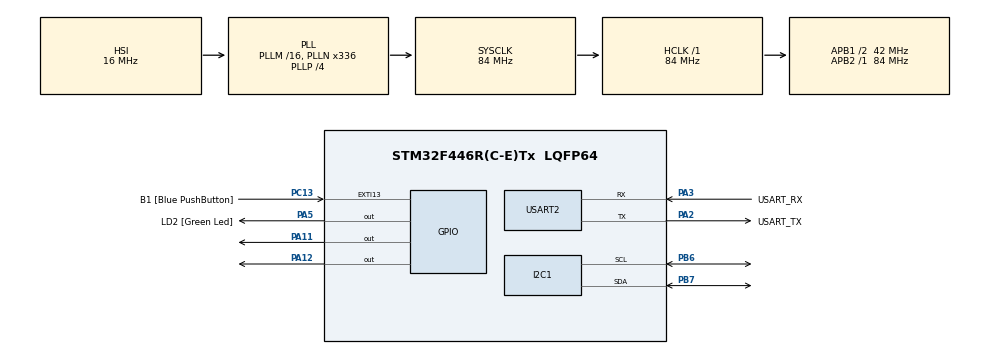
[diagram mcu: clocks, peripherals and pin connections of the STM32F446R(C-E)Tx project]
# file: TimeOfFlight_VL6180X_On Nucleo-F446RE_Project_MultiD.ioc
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Mcu.Family=STM32F4
PC15-OSC32_OUT.Mode=LSE-External-Oscillator
PH0-OSC_IN.Signal=RCC_OSC_IN
RCC.CortexFreq_Value=84000000
PC13.Signal=GPXTI13
PA14.GPIO_Label=TCK
PC13.GPIO_Label=B1 [Blue PushButton]
RCC.APB1CLKDivider=RCC_HCLK_DIV2
PC14-OSC32_IN.Signal=RCC_OSC32_IN
RCC.SYSCLKSource=RCC_SYSCLKSOURCE_PLLCLK
ProjectManager.StackSize=0x400
PA13.Signal=SYS_JTMS-SWDIO
PA3.Mode=Asynchronous
PA12.Signal=GPIO_Output
ProjectManager.TargetToolchain=Makefile
RCC.HCLKFreq_Value=84000000
RCC.APB2TimFreq_Value=84000000
PB6.Signal=I2C1_SCL
PB6.Mode=I2C
RCC.USBFreq_Value=168000000
PC15-OSC32_OUT.Signal=RCC_OSC32_OUT
RCC.AHBFreq_Value=84000000
PH0-OSC_IN.Mode=HSE-External-Oscillator
PA5.Signal=GPIO_Output
RCC.HSE_VALUE=8000000
board=NUCLEO-F446RE
RCC.VCOOutputFreq_Value=336000000
RCC.APB2Freq_Value=84000000
PC14-OSC32_IN.Mode=LSE-External-Oscillator
PA14.Mode=Serial_Wire
PH1-OSC_OUT.Signal=RCC_OSC_OUT
PB7.Signal=I2C1_SDA
PA13.Mode=Serial_Wire
Mcu.Name=STM32F446R(C-E)Tx
PA2.Signal=USART2_TX
PA13.GPIO_Label=TMS
RCC.FLatency-AdvancedSettings=FLASH_LATENCY_2
PH1-OSC_OUT.Mode=HSE-External-Oscillator
RCC.48MHZClocksFreq_Value=84000000
PB3.Signal=SYS_JTDO-SWO
RCC.SYSCLKFreq_VALUE=84000000
Mcu.Package=LQFP64
PA5.GPIO_Label=LD2 [Green Led]
PC13.GPIO_ModeDefaultEXTI=GPIO_MODE_IT_FALLING
USART2.VirtualMode=VM_ASYNC
PA2.GPIO_Label=USART_TX
PB7.Mode=I2C
PA11.Signal=GPIO_Output
PA14.Signal=SYS_JTCK-SWCLK
ProjectManager.HeapSize=0x200
RCC.HSI_VALUE=16000000
RCC.PLLP=RCC_PLLP_DIV4
NVIC.PriorityGroup=NVIC_PRIORITYGROUP_0
RCC.PLLN=336
RCC.APB1TimFreq_Value=84000000
PA2.Mode=Asynchronous
RCC.APB1Freq_Value=42000000
PA3.GPIO_Label=USART_RX
PA3.Signal=USART2_RX
PB3.GPIO_Label=SWO

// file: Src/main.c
/* USER CODE BEGIN Header */
/**
  ******************************************************************************
  * @file           : main.c
  * @brief          : Main program body
  ******************************************************************************
  * @attention
  *
  * <h2><center>&copy; Copyright (c) 2020 STMicroelectronics.
  * All rights reserved.</center></h2>
  *
  * This software component is licensed by ST under BSD 3-Clause license,
  * the "License"; You may not use this file except in compliance with the
  * License. You may obtain a copy of the License at:
  *                        opensource.org/licenses/BSD-3-Clause
  *
  ******************************************************************************
  */
/* USER CODE END Header */

#include "main.h"

/* USER CODE BEGIN PD */
#define DigitDisplay_ms     1 /* ms each digit is kept on */
#define PressBPSwicthTime   1000 /* if user keep bp press more that this mean swicth mode else rooll over use c&se in mode */
#define MAX_DEV 2

/* USER CODE END PD */

I2C_HandleTypeDef hi2c1;

UART_HandleTypeDef huart2;

/* USER CODE BEGIN PV */
// global vars only for debugging with STMStudio
VL6180x_RangeData_t Range[MAX_DEV];
VL6180x_RangeData_t RangeDB1;
VL6180x_RangeData_t RangeDB2;

/* USER CODE END PV */

void SystemClock_Config(void);
static void MX_GPIO_Init(void);
static void MX_I2C1_Init(void);
static void MX_USART2_UART_Init(void);

/* USER CODE BEGIN 0 */

void WaitMilliSec(int ms);

VL6180xDev_t theVL6180xDev;
struct MyVL6180Dev_t BoardDevs[MAX_DEV] = {
                                        [0]= { .DevID = 0 },
                                        [1]= { .DevID = 1 },
                                    };

VL6180xDev_t theVL6180xDev = &BoardDevs[0];

/**
 * VL6180x CubeMX F401 multiple device i2c implementation
 */

#define i2c_bus      (&hi2c1)
#define def_i2c_time_out 100

int VL6180x_I2CWrite(VL6180xDev_t dev, uint8_t *buff, uint8_t len) {
    int status;
    status = HAL_I2C_Master_Transmit(i2c_bus, dev->I2cAddr, buff, len, def_i2c_time_out);
    if (status) {
        HAL_I2C_MspInit(&hi2c1);
    }
    return status? -1 : 0;
}

int VL6180x_I2CRead(VL6180xDev_t dev, uint8_t *buff, uint8_t len) {
    int status;
    status = HAL_I2C_Master_Receive(i2c_bus, dev->I2cAddr, buff, len, def_i2c_time_out);
    if (status) {
        HAL_I2C_MspInit(&hi2c1);
    }

    return status? -1 : 0;
}

void WaitMilliSec(int ms) {
    HAL_Delay(ms); /* it's milli sec  cos we do set systick to 1KHz */
}

/* USER CODE END 0 */

int main(void)
{
  /* USER CODE BEGIN 1 */

  int status;
  int i;
  int n_dev=2;
  int PresentDevMask;
  int nPresentDevs;
  int PresentDevIds[MAX_DEV];
  int nReady;
  /* USER CODE END 1 */

  /* MCU Configuration--------------------------------------------------------*/

  /* Reset of all peripherals, Initializes the Flash interface and the Systick. */
  HAL_Init();

  /* Configure the system clock */
  SystemClock_Config();

  /* Initialize all configured peripherals */
  MX_GPIO_Init();
  MX_I2C1_Init();
  MX_USART2_UART_Init();
  /* USER CODE BEGIN 2 */

  /* detect presence and initialize devices i2c address  */
  /*set device i2c address for dev[i] = 0x52+(i+1)*2 */
  PresentDevMask = 0;
  nPresentDevs = 0;
  //strcpy(DisplayStr,"TLBR");
  for (i = 0; i <= n_dev - 1; i++) { //(i = n_dev - 1; i >= 0; i--)
      int FinalI2cAddr;
      uint8_t id;
      if (i==0)
        HAL_GPIO_TogglePin(GPIOA,GPIO_PIN_11);
      if (i==1)
        HAL_GPIO_TogglePin(GPIOA,GPIO_PIN_12);

      /* unreset device that wake up at default i2c addres 0x52 */
      WaitMilliSec(2);    /* at least 400usec before to acces device */
      BoardDevs[i].I2cAddr = 0x52;
      /* to detect device presence try to read it's dev id */
      status = VL6180x_RdByte(&BoardDevs[i], IDENTIFICATION_MODEL_ID, &id);
      if (status) {
          /* these device is not present skip init and clear it's letter on string */
          /*we can add here some debug prints*/
          //BoardDevs[i].Present = 0;
          //DisplayStr[i]=' ';
          continue;
      }
      /* device present only */
      BoardDevs[i].Present = 1;
      PresentDevMask |= 1 << i;
      PresentDevIds[nPresentDevs]=i;
      nPresentDevs++;
      status = VL6180x_InitData(&BoardDevs[i]);

      FinalI2cAddr = 0x52 + ((i+1) * 2);
      if (FinalI2cAddr != 0x52) {
          status = VL6180x_SetI2CAddress(&BoardDevs[i], FinalI2cAddr);
          if( status ){
              //HandleError("VL6180x_SetI2CAddress fail");
          }
          BoardDevs[i].I2cAddr = FinalI2cAddr;
      }

      WaitMilliSec(1);
      status = VL6180x_RdByte(&BoardDevs[i], IDENTIFICATION_MODEL_ID, &id);
      WaitMilliSec(1);
      status= VL6180x_Prepare(&BoardDevs[i]);
      if( status<0 ){
          //HandleError("VL6180x_Prepare fail");
      }
      /* Disable Dmax computation */
      VL6180x_DMaxSetState(&BoardDevs[i], 0);

    }
    HAL_Delay(30);

  /* USER CODE END 2 */

  /* Infinite loop */
  /* USER CODE BEGIN WHILE */
  while (1)
  {
    VL6180xDev_t dev;

    // kick off measure on all device
    for( i=0; i<nPresentDevs; i++){
        dev =  BoardDevs + PresentDevIds[i];
        status = VL6180x_RangeStartSingleShot(dev);
        if( status<0 ){
            //TODO: print error : debug
        }
        dev->Ready=0;
    }

    // wait for all present device to have a measure
    nReady=0;

    do{
        //DISP_ExecLoopBody();
        for( i=0; i<nPresentDevs; i++){
            dev =  BoardDevs + PresentDevIds[i];
            if( !dev->Ready ){
                status = VL6180x_RangeGetMeasurementIfReady(dev, &Range[i]);
                if (i==0)
                  RangeDB1 = Range[i];
                if (i==1)
                  RangeDB2 = Range[i];
                if( status == 0 ){
                    if(Range[i].errorStatus == DataNotReady)
                        continue;
                    // New measurement ready
                    dev->Ready=1;
                    nReady++;
                } else {
                    //HandleError("VL6180x_RangeStartSingleShot fail"); //TODO: print error : debug
                }
            }
        }
    }
    while( nReady<nPresentDevs);

    HAL_Delay(10);

    /* USER CODE END WHILE */

  }
}

void SystemClock_Config(void)
{
  RCC_OscInitTypeDef RCC_OscInitStruct = {0};
  RCC_ClkInitTypeDef RCC_ClkInitStruct = {0};

  /** Configure the main internal regulator output voltage
  */
  __HAL_RCC_PWR_CLK_ENABLE();
  __HAL_PWR_VOLTAGESCALING_CONFIG(PWR_REGULATOR_VOLTAGE_SCALE3);
  /** Initializes the CPU, AHB and APB busses clocks
  */
  RCC_OscInitStruct.OscillatorType = RCC_OSCILLATORTYPE_HSI;
  RCC_OscInitStruct.HSIState = RCC_HSI_ON;
  RCC_OscInitStruct.HSICalibrationValue = RCC_HSICALIBRATION_DEFAULT;
  RCC_OscInitStruct.PLL.PLLState = RCC_PLL_ON;
  RCC_OscInitStruct.PLL.PLLSource = RCC_PLLSOURCE_HSI;
  RCC_OscInitStruct.PLL.PLLM = 16;
  RCC_OscInitStruct.PLL.PLLN = 336;
  RCC_OscInitStruct.PLL.PLLP = RCC_PLLP_DIV4;
  RCC_OscInitStruct.PLL.PLLQ = 2;
  RCC_OscInitStruct.PLL.PLLR = 2;
  if (HAL_RCC_OscConfig(&RCC_OscInitStruct) != HAL_OK)
  {
    Error_Handler();
  }
  /** Initializes the CPU, AHB and APB busses clocks
  */
  RCC_ClkInitStruct.ClockType = RCC_CLOCKTYPE_HCLK|RCC_CLOCKTYPE_SYSCLK
                              |RCC_CLOCKTYPE_PCLK1|RCC_CLOCKTYPE_PCLK2;
  RCC_ClkInitStruct.SYSCLKSource = RCC_SYSCLKSOURCE_PLLCLK;
  RCC_ClkInitStruct.AHBCLKDivider = RCC_SYSCLK_DIV1;
  RCC_ClkInitStruct.APB1CLKDivider = RCC_HCLK_DIV2;
  RCC_ClkInitStruct.APB2CLKDivider = RCC_HCLK_DIV1;

  if (HAL_RCC_ClockConfig(&RCC_ClkInitStruct, FLASH_LATENCY_2) != HAL_OK)
  {
    Error_Handler();
  }
}

static void MX_I2C1_Init(void)
{

  hi2c1.Instance = I2C1;
  hi2c1.Init.ClockSpeed = 100000;
  hi2c1.Init.DutyCycle = I2C_DUTYCYCLE_2;
  hi2c1.Init.OwnAddress1 = 0;
  hi2c1.Init.AddressingMode = I2C_ADDRESSINGMODE_7BIT;
  hi2c1.Init.DualAddressMode = I2C_DUALADDRESS_DISABLE;
  hi2c1.Init.OwnAddress2 = 0;
  hi2c1.Init.GeneralCallMode = I2C_GENERALCALL_DISABLE;
  hi2c1.Init.NoStretchMode = I2C_NOSTRETCH_DISABLE;
  if (HAL_I2C_Init(&hi2c1) != HAL_OK)
  {
    Error_Handler();
  }

}

static void MX_USART2_UART_Init(void)
{

  huart2.Instance = USART2;
  huart2.Init.BaudRate = 115200;
  huart2.Init.WordLength = UART_WORDLENGTH_8B;
  huart2.Init.StopBits = UART_STOPBITS_1;
  huart2.Init.Parity = UART_PARITY_NONE;
  huart2.Init.Mode = UART_MODE_TX_RX;
  huart2.Init.HwFlowCtl = UART_HWCONTROL_NONE;
  huart2.Init.OverSampling = UART_OVERSAMPLING_16;
  if (HAL_UART_Init(&huart2) != HAL_OK)
  {
    Error_Handler();
  }

}

static void MX_GPIO_Init(void)
{
  GPIO_InitTypeDef GPIO_InitStruct = {0};

  /* GPIO Ports Clock Enable */
  __HAL_RCC_GPIOC_CLK_ENABLE();
  __HAL_RCC_GPIOH_CLK_ENABLE();
  __HAL_RCC_GPIOA_CLK_ENABLE();
  __HAL_RCC_GPIOB_CLK_ENABLE();

  /*Configure GPIO pin Output Level */
  HAL_GPIO_WritePin(GPIOA, LD2_Pin|GPIO_PIN_11|GPIO_PIN_12, GPIO_PIN_RESET);

  /*Configure GPIO pin : B1_Pin */
  GPIO_InitStruct.Pin = B1_Pin;
  GPIO_InitStruct.Mode = GPIO_MODE_IT_FALLING;
  GPIO_InitStruct.Pull = GPIO_NOPULL;
  HAL_GPIO_Init(B1_GPIO_Port, &GPIO_InitStruct);

  /*Configure GPIO pins : LD2_Pin PA11 PA12 */
  GPIO_InitStruct.Pin = LD2_Pin|GPIO_PIN_11|GPIO_PIN_12;
  GPIO_InitStruct.Mode = GPIO_MODE_OUTPUT_PP;
  GPIO_InitStruct.Pull = GPIO_NOPULL;
  GPIO_InitStruct.Speed = GPIO_SPEED_FREQ_LOW;
  HAL_GPIO_Init(GPIOA, &GPIO_InitStruct);

}

void Error_Handler(void)
{
}

/************************ (C) COPYRIGHT STMicroelectronics *****END OF FILE****/
